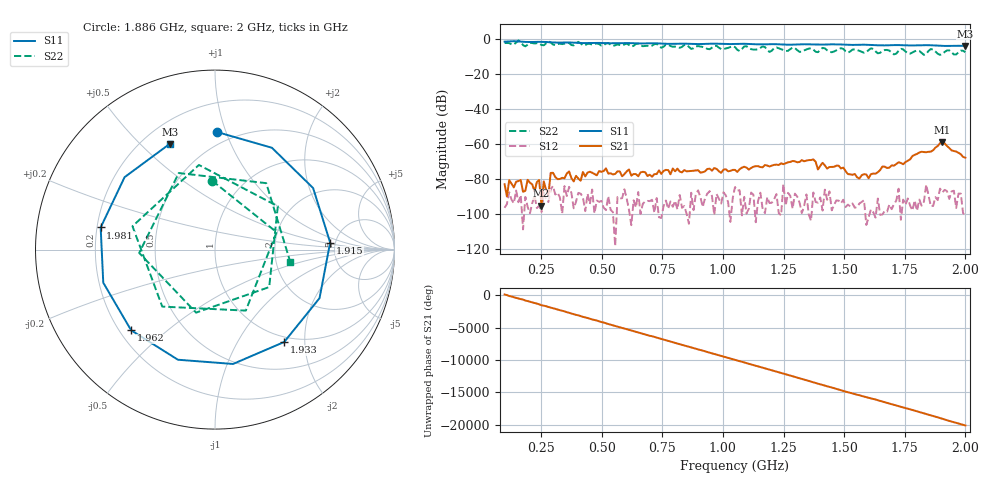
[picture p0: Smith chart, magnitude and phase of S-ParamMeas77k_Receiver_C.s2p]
!Keysight Technologies,N5242B,MY48420967,A.15.65.19
!Date: Saturday, February 04, 2023 06:24:08
!Correction: S11(C  1-Port  )
!S21(Off)
!S12(Off)
!S22(Off)
!S2P File: Measurements: S11, S21, S12, S22:
# Hz S  dB  R 50
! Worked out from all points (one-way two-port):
!   201 points, 100 MHz to 2 GHz, reference 50 ohm
!   highest |S21| = -59.14 dB at 1.905 GHz (marker M1); lowest = -95.3 dB at 252 MHz (marker M2)
!   lowest |S11| = -3.9 dB at 2 GHz (marker M3), VSWR 4.57, Z = 15.4 + j30.8 ohm
!   |S11| at or under -10 dB: nowhere
!   |S22| runs from -9.0 to -0.7 dB; largest |S21 - S12| = 0.0011
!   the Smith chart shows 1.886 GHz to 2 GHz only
!   S11 on the Smith chart (normalised r, x): 1.886 GHz: 0.40, +0.93; 1.915 GHz: 4.51, +0.60; 1.933 GHz: 0.91, -1.60; 1.962 GHz: 0.25, -0.38; 1.981 GHz: 0.21, +0.09; 2 GHz: 0.31, +0.62
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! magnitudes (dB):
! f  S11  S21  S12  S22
! 100 MHz  -1.4  -83.1  -96.6  -2.2
! 252 MHz  -1.5  -95.3  -99.0  -3.3
! 366 MHz  -1.8  -75.8  -84.6  -2.2
! 413.5 MHz  -2.2  -81.0  -88.5  -2.4
! 423 MHz  -2.2  -76.1  -90.5  -3.5
! 613 MHz  -2.2  -74.6  -97.9  -3.3
! 708 MHz  -2.3  -78.8  -92.0  -3.7
! 736.5 MHz  -2.4  -75.2  -102.0  -3.9
! 1.05 GHz  -2.7  -74.8  -84.7  -4.5
! 1.373 GHz  -3.0  -68.9  -87.8  -5.9
! 1.392 GHz  -3.1  -74.6  -93.6  -7.4
! 1.411 GHz  -3.1  -70.8  -98.2  -5.0
! 1.478 GHz  -2.9  -72.5  -92.5  -5.6
! 1.563 GHz  -3.2  -79.8  -94.1  -6.6
! 1.687 GHz  -3.4  -73.5  -94.7  -6.5
! 1.886 GHz  -3.7  -61.2  -92.2  -8.3
! 1.905 GHz  -3.8  -59.1  -87.8  -8.4
! 1.915 GHz  -3.8  -59.6  -86.3  -7.3
! 1.933 GHz  -3.8  -62.3  -91.5  -6.4
! 1.962 GHz  -3.8  -64.3  -96.7  -8.7
! 1.981 GHz  -3.8  -65.9  -88.5  -6.5
! 2 GHz  -3.9  -67.9  -101.0  -7.4
